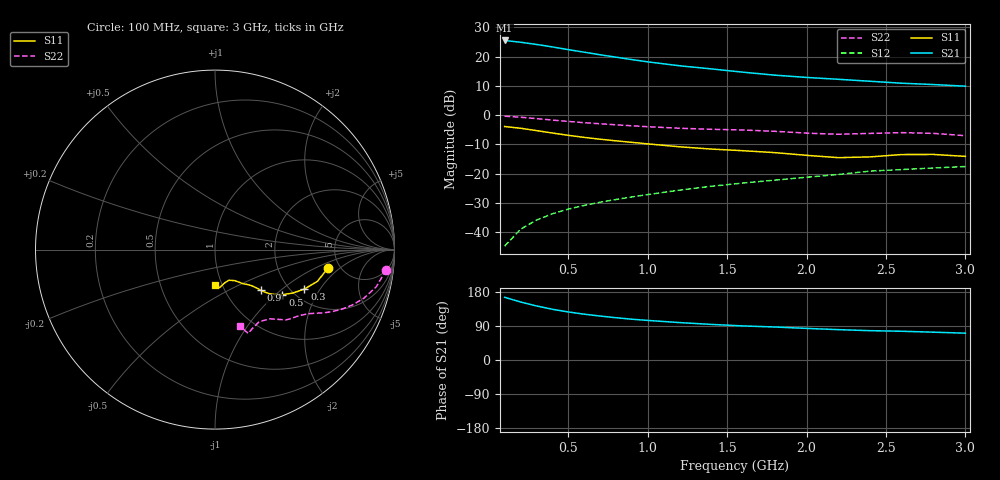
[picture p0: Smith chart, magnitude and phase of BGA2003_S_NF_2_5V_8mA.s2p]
! Title: BGA2003
! Bias: V(Vs_Out)=2.5V; I(CTRL)=8mA controlled / noise data included
! Company: Philips Semiconductors NL
! User: Quality&Reliability DiscreteSemiConductors-Nijmegen
! Measure time: 15 Jan 1999 / 14:07:26
#  MHz  S  MA  R 50
! Freq  S11  S21  S12  S22  :
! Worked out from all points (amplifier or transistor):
!   20 points, 100 MHz to 3 GHz, reference 50 ohm
!   highest |S21| = 25.6 dB at 100 MHz (marker M1)
!   |S21| within 3 dB of that: start of sweep to 486.3 MHz
!   unconditionally stable (mu >= 1): 1.132 GHz to end of sweep
!   at 400 MHz: K = 0.60, MSG = 28.6 dB, |S12| = -33.8 dB
!   at 1.2 GHz: K = 1.02, MAG = 20.5 dB, |S12| = -25.7 dB
!   at 3 GHz: K = 1.08, MAG = 12.0 dB, |S12| = -17.6 dB
!   lowest NFmin = 1.67 dB at 900 MHz
!   S11 on the Smith chart (normalised r, x): 100 MHz: 4.05, -1.38; 300 MHz: 2.34, -1.46; 500 MHz: 1.76, -1.11; 900 MHz: 1.46, -0.75; 3 GHz: 0.93, -0.38
100  0.6395 -9.0  18.96 165.5  0.005732 83.9  0.9604 -6.7
200  0.5973 -17.2  17.67 153.2  0.01115 81.7  0.9219 -13.0
300  0.5443 -23.8  16.22 142.8  0.016 79.5  0.8726 -18.1
400  0.495 -29.4  14.71 133.9  0.0205 78.4  0.8243 -22.0
500  0.452 -33.7  13.23 126.8  0.02463 78.0  0.7807 -25.2
600  0.4164 -36.9  11.95 120.9  0.02854 78.1  0.7434 -27.6
700  0.3879 -39.2  10.8 116.0  0.03236 78.4  0.712 -29.5
800  0.3638 -40.6  9.821 111.6  0.03599 78.7  0.6838 -31.1
900  0.3427 -41.5  8.925 107.7  0.03985 79.0  0.6581 -32.6
1000  0.3226 -42.3  8.167 104.5  0.04369 79.6  0.6345 -34.2
1200  0.2876 -44.4  6.999 98.7  0.05205 80.3  0.5968 -38.0
1400  0.2628 -47.5  6.184 94.0  0.06062 80.9  0.5732 -41.9
1600  0.2464 -50.6  5.434 89.9  0.06895 81.5  0.5565 -44.8
1800  0.2284 -53.2  4.831 87.0  0.07726 81.9  0.5295 -47.3
2000  0.2054 -57.3  4.419 83.4  0.08652 81.1  0.4923 -51.5
2200  0.1873 -65.7  4.107 80.1  0.09661 80.7  0.4708 -58.5
2400  0.1931 -73.9  3.8 77.4  0.1104 80.0  0.4869 -64.8
2600  0.2118 -82.3  3.515 75.8  0.1172 79.8  0.5021 -68.5
2800  0.2126 -85.5  3.337 73.4  0.1249 79.6  0.4874 -69.3
3000  0.197 -89.5  3.13 70.8  0.1321 78.9  0.4455 -72.1
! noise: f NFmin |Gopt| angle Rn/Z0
900  1.67  0.06  15.16  0.19
1000  1.69  0.04  -14.33  0.19
1800  1.7  0.009  132.6  0.2
2000  1.71  0.01  166.2  0.2
2400  1.97  0.08  -69.69  0.19
